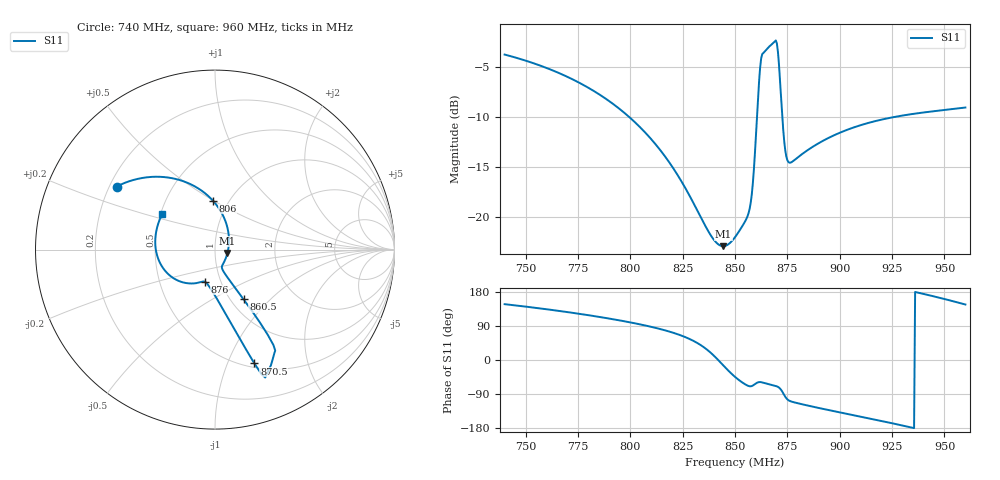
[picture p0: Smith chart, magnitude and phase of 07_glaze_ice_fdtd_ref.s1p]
! ISAC_868 Rev E.5 3D-FDTD Reference S11 at /BR_Q (7_Glaze_Ice_on_0p80mm_Window (eps*=3.2-j0.003))
! Reference plane: /BR_Q (includes C_M1=3.6p, L_M1=8.2n||C_MZ=0.5p, C_M2=4.3p elliptic Pi-filter)
! Unloaded AE1 f0 = 834.5 MHz | Standalone |S11(866.5)| = -2.55 dB | Cascaded |S11(866.5)| = -2.89 dB
# GHz S RI R 50.0
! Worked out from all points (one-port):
!   442 points, 740 MHz to 960 MHz, reference 50 ohm
!   lowest |S11| = -22.9 dB at 844.5 MHz (marker M1), VSWR 1.15, Z = 57.4 - j2.11 ohm
!   |S11| at or under -10 dB: 799.7 MHz to 860.5 MHz (60.83 MHz wide, 7.33 % of centre); 872.6 MHz to 925.2 MHz (52.62 MHz wide, 5.85 % of centre)
!   S11 on the Smith chart (normalised r, x): 740 MHz: 0.23, +0.28; 806 MHz: 0.84, +0.50; 860.5 MHz: 1.15, -0.71; 870.5 MHz: 0.54, -1.25; 876 MHz: 0.84, -0.31; 960 MHz: 0.51, +0.23
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0.74  -0.5482 0.3513
0.7675  -0.3215 0.4059
0.781  -0.2017 0.3889
0.795  -0.0866 0.3366
0.806  -0.0118 0.2729
0.8225  0.0606 0.1517
0.8385  0.0769 0.0259
0.8445  0.0694 -0.0183
0.85  0.0568 -0.0558
0.855  0.0412 -0.087
0.857  0.039 -0.1034
0.8585  0.0563 -0.1359
0.8595  0.0925 -0.1863
0.8605  0.1593 -0.2765
0.862  0.2948 -0.4762
0.8631  0.335 -0.5647
0.869  0.2849 -0.7006
0.87  0.2583 -0.6931
0.8705  0.2195 -0.6345
0.873  0.0118 -0.276
0.8745  -0.0378 -0.1977
0.876  -0.0569 -0.1788
0.8775  -0.0671 -0.178
0.8915  -0.1489 -0.1879
0.905  -0.2241 -0.1636
0.9325  -0.3252 -0.0226
0.9465  -0.3303 0.0839
0.96  -0.2949 0.1957
